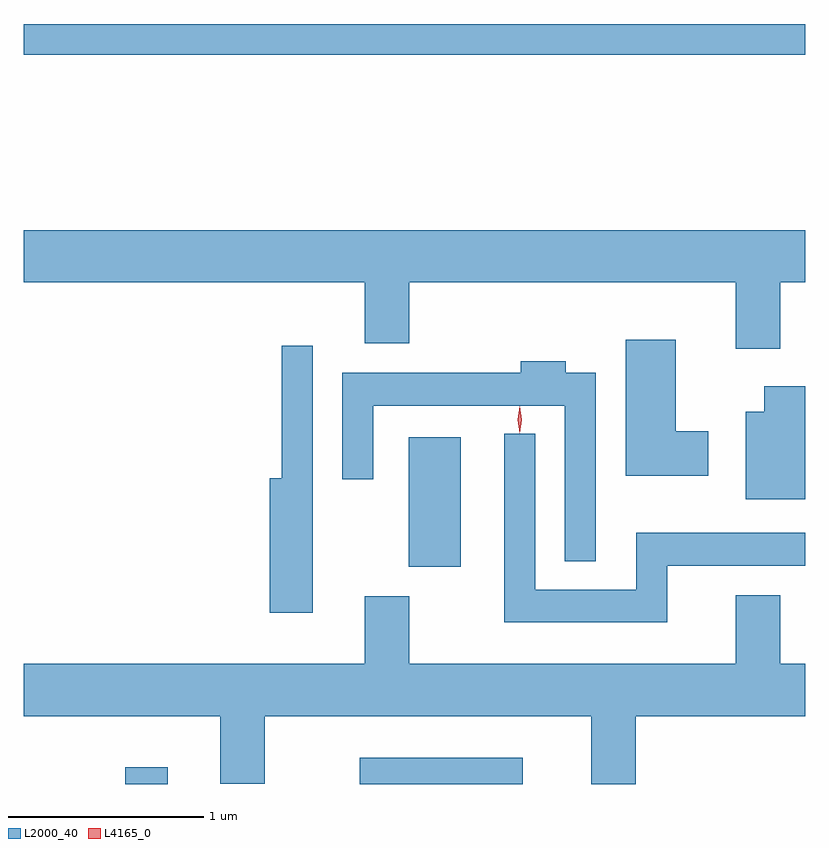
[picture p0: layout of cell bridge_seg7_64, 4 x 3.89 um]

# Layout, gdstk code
import gdstk
lib = gdstk.Library(unit=1e-6, precision=1e-09)
def R(c, l, rs):  # rectangles x0, y0, x1, y1
    for r in rs: c.add(gdstk.rectangle(r[:2], r[2:], *l))
def P(c, l, *ps):  # polygons
    for p in ps: c.add(gdstk.Polygon(p, *l))
L2000_40 = (2000, 40)
L4165_0 = (4165, 0)

bridge_seg7_64 = lib.new_cell('bridge_seg7_64')
R(bridge_seg7_64, L2000_40, [(1623.886,1785.009,1624.104,1785.094), (1625.086,1785.009,1625.919,1785.144), (1625.336,1786.121,1625.604,1786.784), (1623.366,1788.741,1627.366,1788.899)])
P(bridge_seg7_64, L2000_40, [(1627.239,1787.576),(1627.366,1787.576),(1627.366,1787.844),(1623.366,1787.844),(1623.366,1787.576),(1625.111,1787.576),(1625.111,1787.266),(1625.339,1787.266),(1625.339,1787.576),(1627.011,1787.576),(1627.011,1787.236),(1627.239,1787.236)],
  [(1626.869,1786.814),(1626.704,1786.814),(1626.704,1787.284),(1626.446,1787.284),(1626.446,1786.586),(1626.869,1786.586)],
  [(1624.844,1787.253),(1624.686,1787.253),(1624.686,1786.574),(1624.626,1786.574),(1624.626,1785.886),(1624.844,1785.886)],
  [(1626.294,1787.114),(1626.139,1787.114),(1626.139,1787.174),(1625.911,1787.174),(1625.911,1787.114),(1624.996,1787.114),(1624.996,1786.568),(1625.154,1786.568),(1625.154,1786.946),(1626.136,1786.946),(1626.136,1786.148),(1626.294,1786.148)],
  [(1627.366,1787.044),(1627.156,1787.044),(1627.156,1786.914),(1627.061,1786.914),(1627.061,1786.466),(1627.366,1786.466)],
  [(1626.659,1786.126),(1627.366,1786.126),(1627.366,1786.294),(1626.501,1786.294),(1626.501,1786.004),(1625.984,1786.004),(1625.984,1786.803),(1625.826,1786.803),(1625.826,1785.836),(1626.659,1785.836)],
  [(1626.499,1785.356),(1627.366,1785.356),(1627.366,1785.624),(1627.239,1785.624),(1627.239,1785.974),(1627.011,1785.974),(1627.011,1785.624),(1625.339,1785.624),(1625.339,1785.969),(1625.111,1785.969),(1625.111,1785.624),(1623.366,1785.624),(1623.366,1785.356),(1624.371,1785.356),(1624.371,1785.011),(1624.599,1785.011),(1624.599,1785.356),(1626.271,1785.356),(1626.271,1785.009),(1626.499,1785.009)])
P(bridge_seg7_64, L4165_0, [(1625.904,1786.804),(1625.904,1786.804),(1625.894,1786.874),(1625.904,1786.942),(1625.904,1786.943),(1625.905,1786.942),(1625.914,1786.874),(1625.905,1786.804)],
  [(1625.905,1786.807),(1625.904,1786.808),(1625.895,1786.874),(1625.904,1786.94),(1625.905,1786.94),(1625.905,1786.94),(1625.915,1786.874),(1625.905,1786.808)])

lib.write_gds('bridge_seg7_64.gds')
